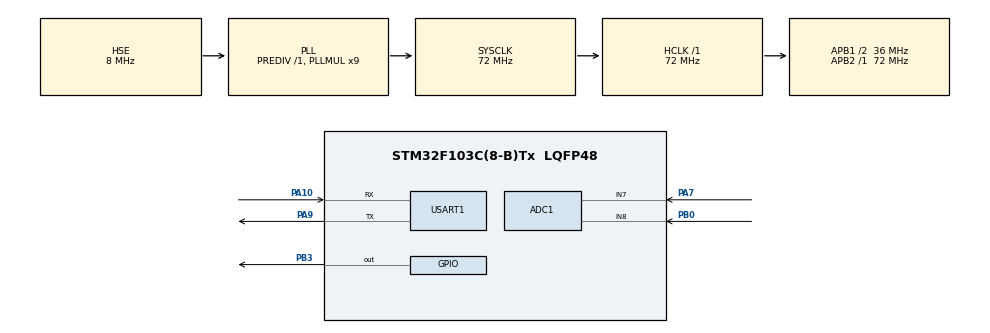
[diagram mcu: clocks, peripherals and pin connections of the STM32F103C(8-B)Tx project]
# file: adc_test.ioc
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ADC1.Channel-0\#ChannelRegularConversion=ADC_CHANNEL_8
ADC1.ContinuousConvMode=ENABLE
ADC1.NbrOfConversion=1
ADC1.NbrOfConversionFlag=1
ADC1.Rank-0\#ChannelRegularConversion=1
ADC1.SamplingTime-0\#ChannelRegularConversion=ADC_SAMPLETIME_1CYCLE_5
ADC1.master=1
Dma.ADC1.0.Direction=DMA_PERIPH_TO_MEMORY
Dma.ADC1.0.Instance=DMA1_Channel1
Dma.ADC1.0.MemDataAlignment=DMA_MDATAALIGN_HALFWORD
Dma.ADC1.0.MemInc=DMA_MINC_ENABLE
Dma.ADC1.0.Mode=DMA_CIRCULAR
Dma.ADC1.0.PeriphDataAlignment=DMA_PDATAALIGN_HALFWORD
Dma.ADC1.0.PeriphInc=DMA_PINC_DISABLE
Dma.ADC1.0.Priority=DMA_PRIORITY_VERY_HIGH
Dma.Request0=ADC1
FREERTOS.Tasks01=defaultTask,0,128,StartDefaultTask,Default,NULL,Dynamic,NULL,NULL;myTask02,3,64,StartTask02,Default,NULL,Dynamic,NULL,NULL;myTask03,2,64,StartTask03,Default,NULL,Dynamic,NULL,NULL
FREERTOS.configMINIMAL_STACK_SIZE=64
IWDG.Prescaler=IWDG_PRESCALER_32
Mcu.Family=STM32F1
Mcu.Name=STM32F103C(8-B)Tx
Mcu.Package=LQFP48
NVIC.DMA1_Channel1_IRQn=true\:5\:0\:false\:false\:true\:true\:false\:true
NVIC.PriorityGroup=NVIC_PRIORITYGROUP_4
NVIC.TIM1_UP_IRQn=true\:15\:0\:false\:false\:true\:false\:false\:true
NVIC.TimeBase=TIM1_UP_IRQn
NVIC.TimeBaseIP=TIM1
PA10.Mode=Asynchronous
PA10.Signal=USART1_RX
PA13.Mode=Serial_Wire
PA13.Signal=SYS_JTMS-SWDIO
PA14.Mode=Serial_Wire
PA14.Signal=SYS_JTCK-SWCLK
PA7.Signal=ADCx_IN7
PA9.Mode=Asynchronous
PA9.Signal=USART1_TX
PB0.Signal=ADCx_IN8
PB3.Signal=GPIO_Output
PD0-OSC_IN.Mode=HSE-External-Oscillator
PD0-OSC_IN.Signal=RCC_OSC_IN
PD1-OSC_OUT.Mode=HSE-External-Oscillator
PD1-OSC_OUT.Signal=RCC_OSC_OUT
ProjectManager.HeapSize=0x200
ProjectManager.StackSize=0x400
ProjectManager.TargetToolchain=MDK-ARM V5
RCC.ADCPresc=RCC_ADCPCLK2_DIV6
RCC.AHBFreq_Value=72000000
RCC.APB1CLKDivider=RCC_HCLK_DIV2
RCC.APB1Freq_Value=36000000
RCC.APB1TimFreq_Value=72000000
RCC.APB2Freq_Value=72000000
RCC.APB2TimFreq_Value=72000000
RCC.HCLKFreq_Value=72000000
RCC.PLLMUL=RCC_PLL_MUL9
RCC.PLLSourceVirtual=RCC_PLLSOURCE_HSE
RCC.SYSCLKFreq_VALUE=72000000
RCC.SYSCLKSource=RCC_SYSCLKSOURCE_PLLCLK
RCC.USBFreq_Value=72000000
SH.ADCx_IN7.0=ADC1_IN7,IN7
SH.ADCx_IN8.0=ADC1_IN8,IN8
USART1.VirtualMode=VM_ASYNC
VP_FREERTOS_VS_CMSIS_V1.Mode=CMSIS_V1
VP_IWDG_VS_IWDG.Mode=IWDG_Activate
VP_SYS_VS_tim1.Mode=TIM1
board=custom

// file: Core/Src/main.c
/* USER CODE BEGIN Header */
/**
  ******************************************************************************
  * @file           : main.c
  * @brief          : Main program body
  ******************************************************************************
  * @attention
  *
  * Copyright (c) 2022 STMicroelectronics.
  * All rights reserved.
  *
  * This software is licensed under terms that can be found in the LICENSE file
  * in the root directory of this software component.
  * If no LICENSE file comes with this software, it is provided AS-IS.
  *
  ******************************************************************************
  */
/* USER CODE END Header */
#include "main.h"
#include "cmsis_os.h"
#include "adc.h"
#include "dma.h"
#include "iwdg.h"
#include "usart.h"
#include "gpio.h"

void SystemClock_Config(void);
void MX_FREERTOS_Init(void);

/* USER CODE BEGIN 0 */

	uint16_t ADC1_Angle1;
	uint16_t ADC1_Angle2;
	uint16_t ADC1_Value[2];
/* USER CODE END 0 */

int main(void)
{

  /* MCU Configuration--------------------------------------------------------*/

  /* Reset of all peripherals, Initializes the Flash interface and the Systick. */
  HAL_Init();

  /* Configure the system clock */
  SystemClock_Config();

  /* Initialize all configured peripherals */
  MX_GPIO_Init();
  MX_IWDG_Init();
	  MX_DMA_Init();
  MX_ADC1_Init();

  MX_USART1_UART_Init();
  /* USER CODE BEGIN 2 */

	printf("init1 ok \r\n");
	HAL_ADCEx_Calibration_Start(&hadc1);
	printf("init2 ok \r\n");
	HAL_ADC_Start_DMA(&hadc1, (uint32_t*)&ADC1_Value, 2);
  /* USER CODE END 2 */

  /* Call init function for freertos objects (in freertos.c) */
  MX_FREERTOS_Init();
  /* Start scheduler */
  osKernelStart();

  /* We should never get here as control is now taken by the scheduler */
  /* Infinite loop */
  while (1)
  {

  }
}

void SystemClock_Config(void)
{
  RCC_OscInitTypeDef RCC_OscInitStruct = {0};
  RCC_ClkInitTypeDef RCC_ClkInitStruct = {0};
  RCC_PeriphCLKInitTypeDef PeriphClkInit = {0};

  /** Initializes the RCC Oscillators according to the specified parameters
  * in the RCC_OscInitTypeDef structure.
  */
  RCC_OscInitStruct.OscillatorType = RCC_OSCILLATORTYPE_LSI|RCC_OSCILLATORTYPE_HSE;
  RCC_OscInitStruct.HSEState = RCC_HSE_ON;
  RCC_OscInitStruct.HSEPredivValue = RCC_HSE_PREDIV_DIV1;
  RCC_OscInitStruct.HSIState = RCC_HSI_ON;
  RCC_OscInitStruct.LSIState = RCC_LSI_ON;
  RCC_OscInitStruct.PLL.PLLState = RCC_PLL_ON;
  RCC_OscInitStruct.PLL.PLLSource = RCC_PLLSOURCE_HSE;
  RCC_OscInitStruct.PLL.PLLMUL = RCC_PLL_MUL9;
  if (HAL_RCC_OscConfig(&RCC_OscInitStruct) != HAL_OK)
  {
    Error_Handler();
  }
  /** Initializes the CPU, AHB and APB buses clocks
  */
  RCC_ClkInitStruct.ClockType = RCC_CLOCKTYPE_HCLK|RCC_CLOCKTYPE_SYSCLK
                              |RCC_CLOCKTYPE_PCLK1|RCC_CLOCKTYPE_PCLK2;
  RCC_ClkInitStruct.SYSCLKSource = RCC_SYSCLKSOURCE_PLLCLK;
  RCC_ClkInitStruct.AHBCLKDivider = RCC_SYSCLK_DIV1;
  RCC_ClkInitStruct.APB1CLKDivider = RCC_HCLK_DIV2;
  RCC_ClkInitStruct.APB2CLKDivider = RCC_HCLK_DIV1;

  if (HAL_RCC_ClockConfig(&RCC_ClkInitStruct, FLASH_LATENCY_2) != HAL_OK)
  {
    Error_Handler();
  }
  PeriphClkInit.PeriphClockSelection = RCC_PERIPHCLK_ADC;
  PeriphClkInit.AdcClockSelection = RCC_ADCPCLK2_DIV6;
  if (HAL_RCCEx_PeriphCLKConfig(&PeriphClkInit) != HAL_OK)
  {
    Error_Handler();
  }
}

void HAL_TIM_PeriodElapsedCallback(TIM_HandleTypeDef *htim)
{
  if (htim->Instance == TIM1) {
    HAL_IncTick();
  }
}

void Error_Handler(void)
{
  __disable_irq();
  while (1)
  {
  }
}

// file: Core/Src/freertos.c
/* USER CODE BEGIN Header */
/**
  ******************************************************************************
  * File Name          : freertos.c
  * Description        : Code for freertos applications
  ******************************************************************************
  * @attention
  *
  * Copyright (c) 2022 STMicroelectronics.
  * All rights reserved.
  *
  * This software is licensed under terms that can be found in the LICENSE file
  * in the root directory of this software component.
  * If no LICENSE file comes with this software, it is provided AS-IS.
  *
  ******************************************************************************
  */
/* USER CODE END Header */

#include "FreeRTOS.h"
#include "task.h"
#include "main.h"
#include "cmsis_os.h"

osThreadId defaultTaskHandle;
osThreadId myTask02Handle;
osThreadId myTask03Handle;

void StartDefaultTask(void const * argument);
void StartTask02(void const * argument);
void StartTask03(void const * argument);

void MX_FREERTOS_Init(void); /* (MISRA C 2004 rule 8.1) */

/* GetIdleTaskMemory prototype (linked to static allocation support) */
void vApplicationGetIdleTaskMemory( StaticTask_t **ppxIdleTaskTCBBuffer, StackType_t **ppxIdleTaskStackBuffer, uint32_t *pulIdleTaskStackSize );

/* USER CODE BEGIN GET_IDLE_TASK_MEMORY */
static StaticTask_t xIdleTaskTCBBuffer;
static StackType_t xIdleStack[configMINIMAL_STACK_SIZE];

void vApplicationGetIdleTaskMemory( StaticTask_t **ppxIdleTaskTCBBuffer, StackType_t **ppxIdleTaskStackBuffer, uint32_t *pulIdleTaskStackSize )
{
  *ppxIdleTaskTCBBuffer = &xIdleTaskTCBBuffer;
  *ppxIdleTaskStackBuffer = &xIdleStack[0];
  *pulIdleTaskStackSize = configMINIMAL_STACK_SIZE;
  /* place for user code */
}
/* USER CODE END GET_IDLE_TASK_MEMORY */

void MX_FREERTOS_Init(void) {

  /* Create the thread(s) */
  /* definition and creation of defaultTask */
  osThreadDef(defaultTask, StartDefaultTask, osPriorityNormal, 0, 128);
  defaultTaskHandle = osThreadCreate(osThread(defaultTask), NULL);

  /* definition and creation of myTask02 */
  osThreadDef(myTask02, StartTask02, osPriorityRealtime, 0, 64);
  myTask02Handle = osThreadCreate(osThread(myTask02), NULL);

  /* definition and creation of myTask03 */
  osThreadDef(myTask03, StartTask03, osPriorityHigh, 0, 64);
  myTask03Handle = osThreadCreate(osThread(myTask03), NULL);

}

void StartDefaultTask(void const * argument)
{
  for(;;)
  {
    osDelay(1);
  }
}

void StartTask02(void const * argument)
{
  /* USER CODE BEGIN StartTask02 */
		uint16_t t = 0;
  /* Infinite loop */
  for(;;)
  {
		HAL_IWDG_Refresh(&hiwdg);
		HAL_GPIO_TogglePin(GPIOB,GPIO_PIN_3);
		printf("cnt = %d \r\n",t++);
    osDelay(500);
  }
  /* USER CODE END StartTask02 */
}

void StartTask03(void const * argument)
{
  /* USER CODE BEGIN StartTask03 */
  /* Infinite loop */
  for(;;)
  {

		printf("ADC1 Reading : %d \r\n",ADC1_Value[0]);
		printf("ADC2 Reading : %d \r\n",ADC1_Value[1]);
		ADC1_Angle1 = ADC1_Value[0]*3300/4096;
		ADC1_Angle2 = ADC1_Value[1]*3300/4096;
		printf("��ѹ��%.4d mV \r\n  ",ADC1_Angle1);
		printf("��ѹ��%.4d mV \r\n  ",ADC1_Angle2);
    osDelay(500);
  }
  /* USER CODE END StartTask03 */
}
